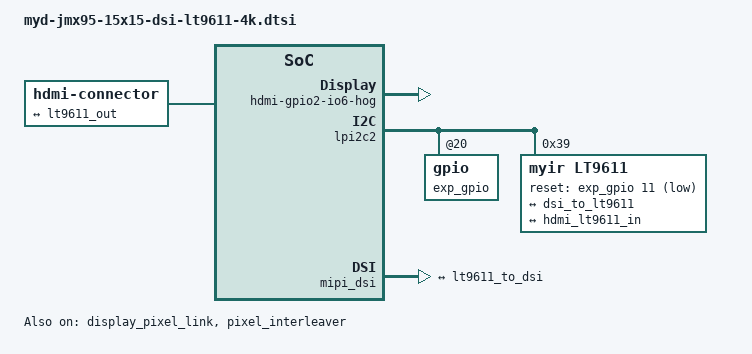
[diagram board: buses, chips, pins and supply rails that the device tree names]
// SPDX-License-Identifier: GPL-2.0+
/*
 * Copyright 2026 MYIR
 */

#include <dt-bindings/gpio/gpio.h>
#include <dt-bindings/interrupt-controller/irq.h>
#include "imx95-clock.h"

/ {
	hdmi-connector-dsi {
		compatible = "hdmi-connector";
		label = "hdmi";
		type = "a";

		port {
			hdmi_lt9611_in: endpoint {
				remote-endpoint = <&lt9611_out>;
			};
		};
	};
};

&gpio2 {
	hdmi-gpio2-io6-hog {
		gpio-hog;
		gpios = <6 GPIO_ACTIVE_HIGH>;
		output-low;
		status = "okay";
	};
};

&lpi2c2 {
	#address-cells = <1>;
	#size-cells = <0>;
	status = "okay";

	exp_gpio: gpio@20 {
		lt9611-eio-p11-hog {
			gpio-hog;
			gpios = <9 GPIO_ACTIVE_HIGH>;
			output-low;
			status = "okay";
		};
	};

	lt9611: hdmi-bridge@39 {
		compatible = "myir,lt9611";
		#sound-dai-cells = <1>;
		reg = <0x39>;
		reset-gpios = <&exp_gpio 11 GPIO_ACTIVE_LOW>;
		clocks = <&scmi_clk IMX95_CLK_DISP1PIX>, <&scmi_clk IMX95_CLK_VIDEOPLL1_VCO>, <&scmi_clk IMX95_CLK_VIDEOPLL1>;
		clock-names = "pix","vco","videopll1";

		ports {
			#address-cells = <1>;
			#size-cells = <0>;

			port@0 {
				reg = <0>;

				lt9611_to_dsi: endpoint {
					remote-endpoint = <&dsi_to_lt9611>;
				};
			};

			port@2 {
				reg = <2>;

				lt9611_out: endpoint {
					remote-endpoint = <&hdmi_lt9611_in>;
				};
			};
		};
	};
};

&display_pixel_link {
	status = "okay";
};


&dpu {
	assigned-clocks = <&scmi_clk IMX95_CLK_DISP1PIX>,
			  <&scmi_clk IMX95_CLK_VIDEOPLL1_VCO>,
			  <&scmi_clk IMX95_CLK_VIDEOPLL1>;
	assigned-clock-parents = <&scmi_clk IMX95_CLK_VIDEOPLL1>;
	assigned-clock-rates = <0>, <2673000000>, <297000000>;
};

&mipi_dsi {
	status = "okay";

	ports {
		#address-cells = <1>;
		#size-cells = <0>;

		port@1 {
			reg = <1>;

			dsi_to_lt9611: endpoint {
				remote-endpoint = <&lt9611_to_dsi>;
			};
		};
	};
};

&pixel_interleaver {
	#address-cells = <1>;
	#size-cells = <0>;
	status = "okay";

	channel@0 {
		reg = <0>;
		status = "okay";
	};
};

&scmi_iomuxc {
	pinctrl-names = "default";
	pinctrl-0 = <&pinctrl_hog>;
	pinctrl_hog: hoggrp {
		fsl,pins = <
			IMX95_PAD_GPIO_IO06__GPIO2_IO_BIT6    0x31e
		>;
	};
};
